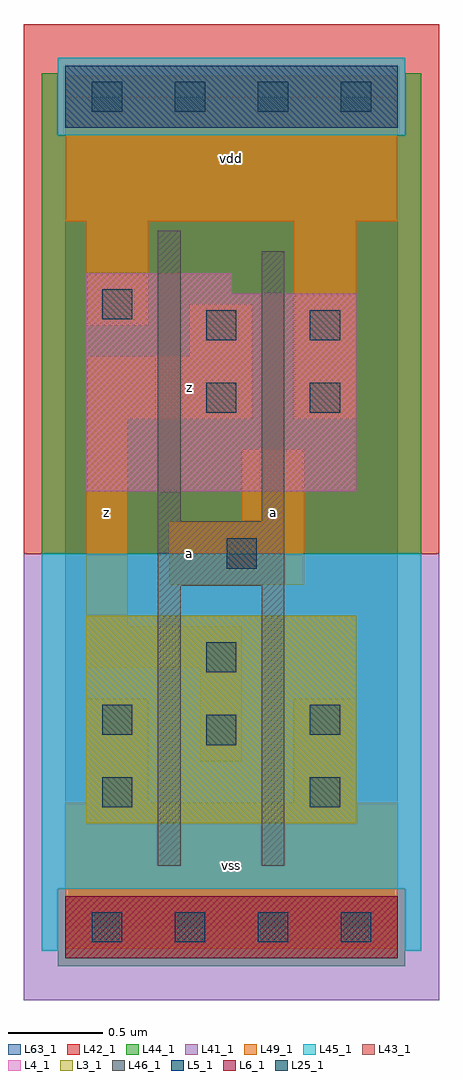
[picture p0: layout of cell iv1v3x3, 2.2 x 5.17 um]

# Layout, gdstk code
import gdstk
lib = gdstk.Library(unit=1e-6, precision=1e-09)
def R(c, l, rs):  # rectangles x0, y0, x1, y1
    for r in rs: c.add(gdstk.rectangle(r[:2], r[2:], *l))
def A(c, l, x, y, w, h, nx, ny, dx, dy):  # array of equal rectangles
    R(c, l, [(x+i*dx, y+j*dy, x+i*dx+w, y+j*dy+h) for i in range(nx) for j in range(ny)])
L3_1 = (3, 1)
L4_1 = (4, 1)
L5_1 = (5, 1)
L6_1 = (6, 1)
L25_1 = (25, 1)
L41_1 = (41, 1)
L42_1 = (42, 1)
L43_1 = (43, 1)
L44_1 = (44, 1)
L45_1 = (45, 1)
L46_1 = (46, 1)
L49_1 = (49, 1)
L63_1 = (63, 1)

iv1v3x3 = lib.new_cell('iv1v3x3')
R(iv1v3x3, L3_1, [(0.11,0.55,1.54,1.65)])
R(iv1v3x3, L4_1, [(0.11,2.31,1.54,3.355), (0.11,3.355,0.88,3.465)])
R(iv1v3x3, L5_1, [(0,4.235,1.76,4.565)])
R(iv1v3x3, L6_1, [(0,-0.165,1.76,0.165)])
A(iv1v3x3, L25_1, 0.14, -0.08, 0.16, 0.16, 4, 2, 0.44, 4.4)
R(iv1v3x3, L25_1, [(0.195,0.635,0.355,0.795), (1.295,0.635,1.455,0.795), (0.745,0.965,0.905,1.125), (0.195,1.02,0.355,1.18), (1.295,1.02,1.455,1.18), (0.745,1.35,0.905,1.51), (0.855,1.9,1.015,2.06), (0.745,2.725,0.905,2.885), (1.295,2.725,1.455,2.885), (0.745,3.11,0.905,3.27), (1.295,3.11,1.455,3.27), (0.195,3.22,0.355,3.38)])
R(iv1v3x3, L41_1, [(-0.22,-0.385,1.98,1.98)])
R(iv1v3x3, L42_1, [(-0.22,1.98,1.98,4.785)])
R(iv1v3x3, L43_1, [(0,-0.165,1.76,0.165), (0.11,0.55,1.54,1.65), (0.11,2.31,1.54,3.355), (0.11,3.355,0.88,3.465), (0,4.235,1.76,4.565)])
R(iv1v3x3, L44_1, [(-0.04,-0.205,1.8,0.205), (-0.125,1.98,1.885,4.195), (-0.125,4.195,-0.04,4.525), (1.8,4.195,1.885,4.525)])
R(iv1v3x3, L45_1, [(-0.125,-0.125,-0.04,0.205), (1.8,-0.125,1.885,0.205), (-0.125,0.205,1.885,1.98), (-0.04,4.195,1.8,4.605)])
R(iv1v3x3, L46_1, [(0.49,0.325,0.61,1.81), (1.04,0.325,1.16,1.81), (0.49,1.81,1.16,2.15), (0.49,2.15,0.61,3.69), (1.04,2.15,1.16,3.58)])
R(iv1v3x3, L49_1, [(0,-0.11,1.76,0.66), (0.11,0.66,0.44,1.21), (1.21,0.66,1.54,1.21), (0.715,0.88,0.935,1.375), (0.11,1.375,0.935,1.595), (0.11,1.595,0.33,2.695), (0.55,1.815,1.265,2.145), (0.935,2.145,1.265,2.53), (0.11,2.695,0.99,3.025), (1.21,2.695,1.54,3.74), (0.66,3.025,0.99,3.3), (0.11,3.19,0.44,3.74), (0,3.74,1.76,4.51)])
R(iv1v3x3, L63_1, [(0,0,1.76,4.4)])
iv1v3x3.add(gdstk.Label('z', (0.22,2.2), layer=49, texttype=1))
iv1v3x3.add(gdstk.Label('a', (0.66,1.98), layer=49, texttype=1))
iv1v3x3.add(gdstk.Label('z', (0.66,2.86), layer=49, texttype=1))
iv1v3x3.add(gdstk.Label('vss', (0.88,0.33), layer=49, texttype=1))
iv1v3x3.add(gdstk.Label('a', (1.1,2.2), layer=49, texttype=1))
iv1v3x3.add(gdstk.Label('vdd', (0.88,4.07), layer=49, texttype=1))

lib.write_gds('iv1v3x3.gds')
